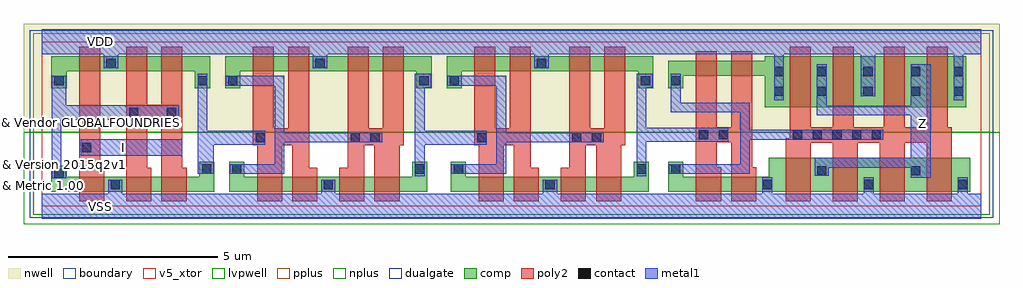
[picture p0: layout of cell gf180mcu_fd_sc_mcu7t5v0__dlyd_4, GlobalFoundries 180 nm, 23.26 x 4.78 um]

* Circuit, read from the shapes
.subckt gf180mcu_fd_sc_mcu7t5v0__dlyd_4 I VDD VSS Z
XM1 VSS I n1 VSUBS nfet_05v0 w=0.36u l=0.6u
XM2 n2 n1 VSS VSUBS nfet_05v0 w=0.36u l=0.6u
XM3 n3 n1 n2 VSUBS nfet_05v0 w=0.36u l=0.6u
XM4 n4 n3 n5 VSUBS nfet_05v0 w=0.36u l=0.6u
XM5 VSS n3 n4 VSUBS nfet_05v0 w=0.36u l=0.6u
XM6 n6 n5 VSS VSUBS nfet_05v0 w=0.36u l=0.6u
XM7 n7 n5 n6 VSUBS nfet_05v0 w=0.36u l=0.6u
XM8 n8 n7 n9 VSUBS nfet_05v0 w=0.36u l=0.6u
XM9 VSS n7 n8 VSUBS nfet_05v0 w=0.36u l=0.6u
XM10 n10 n9 VSS VSUBS nfet_05v0 w=0.36u l=0.6u
XM11 n11 n9 n10 VSUBS nfet_05v0 w=0.36u l=0.6u
XM12 n12 n11 n13 VSUBS nfet_05v0 w=0.365u l=0.6u
XM13 VSS n11 n12 VSUBS nfet_05v0 w=0.365u l=0.6u
XM14 Z n13 VSS VSUBS nfet_05v0 w=0.82u l=0.6u m=4
XM15 VDD I n1 n14 pfet_05v0 w=0.36u l=0.5u
XM16 n15 n1 VDD n14 pfet_05v0 w=0.36u l=0.5u
XM17 n3 n1 n15 n14 pfet_05v0 w=0.36u l=0.5u
XM18 n16 n3 n5 n14 pfet_05v0 w=0.36u l=0.5u
XM19 VDD n3 n16 n14 pfet_05v0 w=0.36u l=0.5u
XM20 n17 n5 VDD n14 pfet_05v0 w=0.36u l=0.5u
XM21 n7 n5 n17 n14 pfet_05v0 w=0.36u l=0.5u
XM22 n18 n7 n9 n14 pfet_05v0 w=0.36u l=0.5u
XM23 VDD n7 n18 n14 pfet_05v0 w=0.36u l=0.5u
XM24 n19 n9 VDD n14 pfet_05v0 w=0.36u l=0.5u
XM25 n11 n9 n19 n14 pfet_05v0 w=0.36u l=0.5u
XM26 n20 n11 n13 n14 pfet_05v0 w=0.36u l=0.5u
XM27 VDD n11 n20 n14 pfet_05v0 w=0.36u l=0.5u
XM28 Z n13 VDD n14 pfet_05v0 w=1.22u l=0.5u m=4
.ends

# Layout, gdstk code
import gdstk
lib = gdstk.Library(unit=1e-6, precision=1e-09)
def R(c, l, rs):  # rectangles x0, y0, x1, y1
    for r in rs: c.add(gdstk.rectangle(r[:2], r[2:], *l))
def A(c, l, x, y, w, h, nx, ny, dx, dy):  # array of equal rectangles
    R(c, l, [(x+i*dx, y+j*dy, x+i*dx+w, y+j*dy+h) for i in range(nx) for j in range(ny)])
def P(c, l, *ps):  # polygons
    for p in ps: c.add(gdstk.Polygon(p, *l))
boundary = (0, 0)
nwell = (21, 0)
comp = (22, 0)
poly2 = (30, 0)
pplus = (31, 0)
nplus = (32, 0)
contact = (33, 0)
metal1 = (34, 0)
dualgate = (55, 0)
v5_xtor = (112, 1)
lvpwell = (204, 0)

gf180mcu_fd_sc_mcu7t5v0_ = lib.new_cell('gf180mcu_fd_sc_mcu7t5v0__dlyd_4')
R(gf180mcu_fd_sc_mcu7t5v0_, boundary, [(0,0,22.4,3.92)])
R(gf180mcu_fd_sc_mcu7t5v0_, nwell, [(-0.43,1.76,22.83,4.35)])
P(gf180mcu_fd_sc_mcu7t5v0_, comp, [(0.235,2.81),(0.235,3.58),(4.015,3.58),(4.015,2.81),(3.655,2.81),(3.655,3.22),(0.595,3.22),(0.595,2.81)],
  [(0.235,0.34),(0.235,0.965),(0.595,0.965),(0.595,0.7),(3.755,0.7),(3.755,1.065),(4.115,1.065),(4.115,0.34)],
  [(4.475,0.34),(4.475,1.065),(4.835,1.065),(4.835,0.7),(8.835,0.7),(8.835,1.065),(9.195,1.065),(9.195,0.34)],
  [(4.375,2.81),(4.375,3.58),(9.295,3.58),(9.295,2.81),(8.935,2.81),(8.935,3.22),(4.735,3.22),(4.735,2.81)],
  [(9.755,0.34),(9.755,1.065),(10.115,1.065),(10.115,0.7),(14.115,0.7),(14.115,1.065),(14.475,1.065),(14.475,0.34)],
  [(9.655,2.81),(9.655,3.58),(14.575,3.58),(14.575,2.81),(14.215,2.81),(14.215,3.22),(10.015,3.22),(10.015,2.81)],
  [(17.235,2.36),(17.235,3.11),(15.295,3.11),(15.295,2.81),(14.935,2.81),(14.935,3.47),(17.235,3.47),(17.235,3.58),(22.035,3.58),(22.035,2.36)],
  [(14.935,0.34),(14.935,1.065),(15.295,1.065),(15.295,0.705),(17.335,0.705),(17.335,1.16),(22.135,1.16),(22.135,0.34)])
P(gf180mcu_fd_sc_mcu7t5v0_, poly2, [(0.895,0.12),(0.895,3.8),(1.395,3.8),(1.395,0.92),(1.495,0.92),(1.495,0.12)],
  [(2.015,0.12),(2.015,3.8),(2.515,3.8),(2.515,2.415),(2.855,2.415),(2.855,3.8),(3.355,3.8),(3.355,0.92),(3.455,0.92),(3.455,0.12),(2.855,0.12),(2.855,2.055),(2.515,2.055),(2.515,0.92),(2.615,0.92),(2.615,0.12)],
  [(5.135,0.12),(5.135,1.45),(5.035,1.45),(5.035,3.8),(5.535,3.8),(5.535,1.855),(5.875,1.855),(5.875,3.8),(6.375,3.8),(6.375,0.92),(6.575,0.92),(6.575,0.12),(5.975,0.12),(5.975,1.45),(5.735,1.45),(5.735,0.12)],
  [(7.095,0.12),(7.095,0.92),(7.295,0.92),(7.295,3.8),(7.795,3.8),(7.795,1.855),(8.135,1.855),(8.135,3.8),(8.635,3.8),(8.635,1.45),(8.535,1.45),(8.535,0.12),(7.935,0.12),(7.935,1.45),(7.695,1.45),(7.695,0.12)],
  [(10.415,0.12),(10.415,1.45),(10.315,1.45),(10.315,3.8),(10.815,3.8),(10.815,1.855),(11.155,1.855),(11.155,3.8),(11.655,3.8),(11.655,0.92),(11.855,0.92),(11.855,0.12),(11.255,0.12),(11.255,1.45),(11.015,1.45),(11.015,0.12)],
  [(12.375,0.12),(12.375,0.92),(12.575,0.92),(12.575,3.8),(13.075,3.8),(13.075,1.855),(13.415,1.855),(13.415,3.8),(13.915,3.8),(13.915,1.45),(13.815,1.45),(13.815,0.12),(13.215,0.12),(13.215,1.45),(12.975,1.45),(12.975,0.12)],
  [(15.595,0.12),(15.595,3.69),(16.095,3.69),(16.095,1.885),(16.435,1.885),(16.435,3.69),(16.935,3.69),(16.935,0.925),(17.035,0.925),(17.035,0.12),(16.435,0.12),(16.435,1.525),(16.095,1.525),(16.095,0.925),(16.195,0.925),(16.195,0.12)],
  [(17.735,0.12),(17.735,1.615),(17.835,1.615),(17.835,3.8),(18.335,3.8),(18.335,1.885),(18.855,1.885),(18.855,3.8),(19.355,3.8),(19.355,1.885),(20.075,1.885),(20.075,3.8),(20.575,3.8),(20.575,1.88),(21.095,1.88),(21.095,3.8),(21.595,3.8),(21.595,1.88),(21.695,1.88),(21.695,0.12),(21.095,0.12),(21.095,1.51),(20.575,1.51),(20.575,0.12),(19.975,0.12),(19.975,1.51),(19.455,1.51),(19.455,0.12),(18.855,0.12),(18.855,1.51),(18.335,1.51),(18.335,0.12)])
R(gf180mcu_fd_sc_mcu7t5v0_, pplus, [(-0.2,1.76,22.6,4.12)])
R(gf180mcu_fd_sc_mcu7t5v0_, nplus, [(-0.2,-0.2,22.6,1.76)])
A(gf180mcu_fd_sc_mcu7t5v0_, contact, 17.905, 1.595, 0.22, 0.22, 5, 1, 0.47, 0)
R(gf180mcu_fd_sc_mcu7t5v0_, contact, [(1.645,0.41,1.865,0.63), (6.725,0.41,6.945,0.63), (12.005,0.41,12.225,0.63), (17.185,0.41,17.405,0.63), (19.605,0.41,19.825,0.63), (21.845,0.41,22.065,0.63), (0.305,0.675,0.525,0.895), (18.485,0.735,18.705,0.955), (20.725,0.735,20.945,0.955), (3.825,0.775,4.045,0.995), (4.545,0.775,4.765,0.995), (8.905,0.775,9.125,0.995), (9.825,0.775,10.045,0.995), (14.185,0.775,14.405,0.995), (15.005,0.775,15.225,0.995), (0.965,1.29,1.185,1.51), (5.105,1.525,5.325,1.745), (7.365,1.525,7.585,1.745), (7.835,1.525,8.055,1.745), (10.385,1.525,10.605,1.745), (12.645,1.525,12.865,1.745), (13.115,1.525,13.335,1.745), (15.665,1.595,15.885,1.815), (16.135,1.595,16.355,1.815), (2.085,2.125,2.305,2.345), (2.985,2.125,3.205,2.345), (17.465,2.63,17.685,2.85), (18.485,2.63,18.705,2.85), (19.585,2.63,19.805,2.85), (20.725,2.63,20.945,2.85), (21.745,2.63,21.965,2.85), (0.305,2.88,0.525,3.1), (3.725,2.88,3.945,3.1), (4.445,2.88,4.665,3.1), (9.005,2.88,9.225,3.1), (9.725,2.88,9.945,3.1), (14.285,2.88,14.505,3.1), (15.005,2.88,15.225,3.1), (17.465,3.1,17.685,3.32), (18.485,3.1,18.705,3.32), (19.585,3.1,19.805,3.32), (20.725,3.1,20.945,3.32), (21.745,3.1,21.965,3.32), (1.545,3.29,1.765,3.51), (6.525,3.29,6.745,3.51), (11.805,3.29,12.025,3.51)])
R(gf180mcu_fd_sc_mcu7t5v0_, metal1, [(0.93,1.2,3.355,1.6)])
P(gf180mcu_fd_sc_mcu7t5v0_, metal1, [(0.245,0.67),(0.245,3.105),(0.585,3.105),(0.585,2.405),(3.265,2.405),(3.265,2.065),(0.475,2.065),(0.475,0.9),(0.585,0.9),(0.585,0.67)],
  [(3.72,0.77),(3.72,3.16),(3.95,3.16),(3.95,1.805),(5.33,1.805),(5.33,1.465),(4.105,1.465),(4.105,0.77)],
  [(4.485,0.77),(4.485,1),(5.56,1),(5.56,2.875),(4.385,2.875),(4.385,3.105),(5.79,3.105),(5.79,1.75),(8.115,1.75),(8.115,1.52),(5.79,1.52),(5.79,0.77)],
  [(8.9,0.715),(8.9,3.16),(9.285,3.16),(9.285,2.82),(9.13,2.82),(9.13,1.805),(10.61,1.805),(10.61,1.465),(9.13,1.465),(9.13,0.715)],
  [(9.765,0.77),(9.765,1),(10.84,1),(10.84,2.875),(9.665,2.875),(9.665,3.105),(11.07,3.105),(11.07,1.75),(13.395,1.75),(13.395,1.52),(11.07,1.52),(11.07,0.77)],
  [(14.18,0.715),(14.18,3.16),(14.565,3.16),(14.565,2.82),(14.41,2.82),(14.41,1.875),(16.36,1.875),(16.36,1.535),(14.41,1.535),(14.41,0.715)],
  [(14.945,0.77),(14.945,1),(16.65,1),(16.65,2.235),(15,2.235),(15,3.16),(15.23,3.16),(15.23,2.465),(16.88,2.465),(16.88,1.82),(20.065,1.82),(20.065,1.59),(16.88,1.59),(16.88,0.77)],
  [(20.72,0.675),(20.72,0.92),(18.765,0.92),(18.765,0.73),(18.425,0.73),(18.425,1.15),(20.72,1.15),(20.72,2.165),(18.48,2.165),(18.48,3.38),(18.71,3.38),(18.71,2.395),(20.72,2.395),(20.72,3.38),(21.19,3.38),(21.19,0.675)],
  [(0,-0.3),(0,0.3),(1.585,0.3),(1.585,0.635),(1.925,0.635),(1.925,0.3),(6.665,0.3),(6.665,0.635),(7.005,0.635),(7.005,0.3),(11.945,0.3),(11.945,0.635),(12.285,0.635),(12.285,0.3),(17.18,0.3),(17.18,0.69),(17.41,0.69),(17.41,0.3),(19.6,0.3),(19.6,0.69),(19.83,0.69),(19.83,0.3),(21.84,0.3),(21.84,0.69),(22.07,0.69),(22.07,0.3),(22.4,0.3),(22.4,-0.3)],
  [(17.46,2.53),(17.46,3.62),(12.085,3.62),(12.085,3.285),(11.745,3.285),(11.745,3.62),(6.805,3.62),(6.805,3.285),(6.465,3.285),(6.465,3.62),(1.825,3.62),(1.825,3.285),(1.485,3.285),(1.485,3.62),(0,3.62),(0,4.22),(22.4,4.22),(22.4,3.62),(21.97,3.62),(21.97,2.53),(21.74,2.53),(21.74,3.62),(19.865,3.62),(19.865,2.625),(19.525,2.625),(19.525,3.62),(17.69,3.62),(17.69,2.53)])
R(gf180mcu_fd_sc_mcu7t5v0_, dualgate, [(-0.28,-0.28,22.68,4.2)])
R(gf180mcu_fd_sc_mcu7t5v0_, v5_xtor, [(0,0,22.4,3.92)])
R(gf180mcu_fd_sc_mcu7t5v0_, lvpwell, [(-0.43,-0.43,22.83,1.76)])
gf180mcu_fd_sc_mcu7t5v0_.add(gdstk.Label('Z', (21,1.96), layer=34, texttype=10))
gf180mcu_fd_sc_mcu7t5v0_.add(gdstk.Label('VDD', (1.4,3.92), layer=34, texttype=10))
gf180mcu_fd_sc_mcu7t5v0_.add(gdstk.Label('I', (1.96,1.4), layer=34, texttype=10))
gf180mcu_fd_sc_mcu7t5v0_.add(gdstk.Label('VSS', (1.4,0), layer=34, texttype=10))
gf180mcu_fd_sc_mcu7t5v0_.add(gdstk.Label('& Vendor GLOBALFOUNDRIES', (0,2), layer=63, texttype=63))
gf180mcu_fd_sc_mcu7t5v0_.add(gdstk.Label('& Product GF018hv5v_mcu_sc7', (0,1.5), layer=63, texttype=63))
gf180mcu_fd_sc_mcu7t5v0_.add(gdstk.Label('& Version 2015q2v1', (0,1), layer=63, texttype=63))
gf180mcu_fd_sc_mcu7t5v0_.add(gdstk.Label('& Metric 1.00', (0,0.5), layer=63, texttype=63))

lib.write_gds('gf180mcu_fd_sc_mcu7t5v0__dlyd_4.gds')
